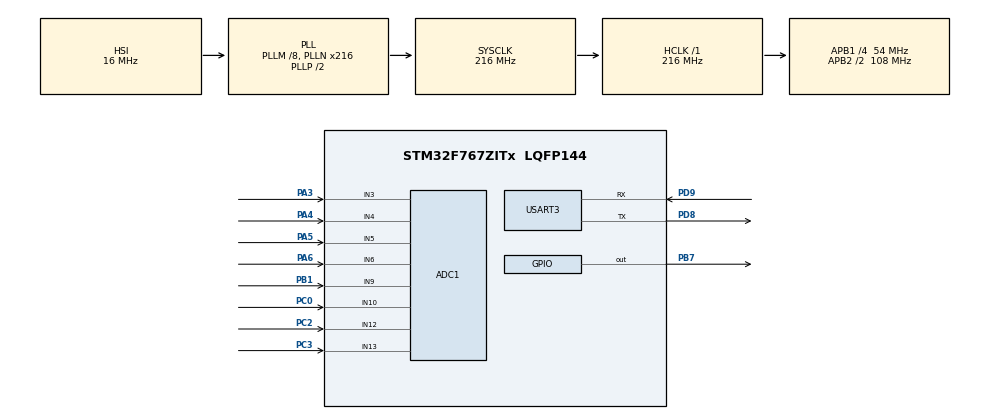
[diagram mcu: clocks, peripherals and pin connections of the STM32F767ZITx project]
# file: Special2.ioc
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ADC1.Channel-0\#ChannelRegularConversion=ADC_CHANNEL_3
ADC1.Channel-1\#ChannelRegularConversion=ADC_CHANNEL_4
ADC1.Channel-2\#ChannelRegularConversion=ADC_CHANNEL_5
ADC1.Channel-3\#ChannelRegularConversion=ADC_CHANNEL_6
ADC1.Channel-4\#ChannelRegularConversion=ADC_CHANNEL_9
ADC1.Channel-5\#ChannelRegularConversion=ADC_CHANNEL_10
ADC1.Channel-6\#ChannelRegularConversion=ADC_CHANNEL_12
ADC1.Channel-7\#ChannelRegularConversion=ADC_CHANNEL_13
ADC1.ClockPrescaler=ADC_CLOCK_SYNC_PCLK_DIV8
ADC1.ContinuousConvMode=ENABLE
ADC1.DMAContinuousRequests=ENABLE
ADC1.NbrOfConversion=8
ADC1.NbrOfConversionFlag=1
ADC1.Rank-0\#ChannelRegularConversion=1
ADC1.Rank-1\#ChannelRegularConversion=2
ADC1.Rank-2\#ChannelRegularConversion=3
ADC1.Rank-3\#ChannelRegularConversion=4
ADC1.Rank-4\#ChannelRegularConversion=5
ADC1.Rank-5\#ChannelRegularConversion=6
ADC1.Rank-6\#ChannelRegularConversion=7
ADC1.Rank-7\#ChannelRegularConversion=8
ADC1.SamplingTime-0\#ChannelRegularConversion=ADC_SAMPLETIME_15CYCLES
ADC1.SamplingTime-1\#ChannelRegularConversion=ADC_SAMPLETIME_15CYCLES
ADC1.SamplingTime-2\#ChannelRegularConversion=ADC_SAMPLETIME_15CYCLES
ADC1.SamplingTime-3\#ChannelRegularConversion=ADC_SAMPLETIME_15CYCLES
ADC1.SamplingTime-4\#ChannelRegularConversion=ADC_SAMPLETIME_15CYCLES
ADC1.SamplingTime-5\#ChannelRegularConversion=ADC_SAMPLETIME_15CYCLES
ADC1.SamplingTime-6\#ChannelRegularConversion=ADC_SAMPLETIME_15CYCLES
ADC1.SamplingTime-7\#ChannelRegularConversion=ADC_SAMPLETIME_15CYCLES
ADC1.ScanConvMode=ADC_SCAN_ENABLE
ADC1.master=1
CORTEX_M7.default_mode_Activation=1
Dma.ADC1.0.Direction=DMA_PERIPH_TO_MEMORY
Dma.ADC1.0.FIFOMode=DMA_FIFOMODE_DISABLE
Dma.ADC1.0.Instance=DMA2_Stream0
Dma.ADC1.0.MemDataAlignment=DMA_MDATAALIGN_WORD
Dma.ADC1.0.MemInc=DMA_MINC_ENABLE
Dma.ADC1.0.Mode=DMA_CIRCULAR
Dma.ADC1.0.PeriphDataAlignment=DMA_PDATAALIGN_WORD
Dma.ADC1.0.PeriphInc=DMA_PINC_DISABLE
Dma.ADC1.0.Priority=DMA_PRIORITY_LOW
Dma.Request0=ADC1
Mcu.Family=STM32F7
Mcu.Name=STM32F767ZITx
Mcu.Package=LQFP144
NVIC.DMA2_Stream0_IRQn=true\:1\:0\:true\:false\:true\:false\:true\:true
NVIC.PriorityGroup=NVIC_PRIORITYGROUP_4
PA3.Signal=ADCx_IN3
PA4.Signal=ADCx_IN4
PA5.Signal=ADCx_IN5
PA6.Signal=ADCx_IN6
PB1.Signal=ADCx_IN9
PB7.GPIO_Speed=GPIO_SPEED_FREQ_HIGH
PB7.Signal=GPIO_Output
PC0.Signal=ADCx_IN10
PC2.Signal=ADCx_IN12
PC3.Signal=ADCx_IN13
PD8.Mode=Asynchronous
PD8.Signal=USART3_TX
PD9.Mode=Asynchronous
PD9.Signal=USART3_RX
ProjectManager.HeapSize=0x200
ProjectManager.StackSize=0x400
ProjectManager.TargetToolchain=STM32CubeIDE
RCC.AHBFreq_Value=216000000
RCC.APB1CLKDivider=RCC_HCLK_DIV4
RCC.APB1Freq_Value=54000000
RCC.APB1TimFreq_Value=108000000
RCC.APB2CLKDivider=RCC_HCLK_DIV2
RCC.APB2Freq_Value=108000000
RCC.APB2TimFreq_Value=216000000
RCC.CortexFreq_Value=216000000
RCC.HCLKFreq_Value=216000000
RCC.HSE_VALUE=25000000
RCC.HSI_VALUE=16000000
RCC.LSE_VALUE=32768
RCC.PLLM=8
RCC.PLLN=216
RCC.SYSCLKFreq_VALUE=216000000
RCC.SYSCLKSource=RCC_SYSCLKSOURCE_PLLCLK
RCC.USBFreq_Value=216000000
RCC.VCOOutputFreq_Value=432000000
SH.ADCx_IN10.0=ADC1_IN10,IN10
SH.ADCx_IN12.0=ADC1_IN12,IN12
SH.ADCx_IN13.0=ADC1_IN13,IN13
SH.ADCx_IN3.0=ADC1_IN3,IN3
SH.ADCx_IN4.0=ADC1_IN4,IN4
SH.ADCx_IN5.0=ADC1_IN5,IN5
SH.ADCx_IN6.0=ADC1_IN6,IN6
SH.ADCx_IN9.0=ADC1_IN9,IN9
USART3.VirtualMode-Asynchronous=VM_ASYNC
board=custom

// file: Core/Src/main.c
/* USER CODE BEGIN Header */
/**
  ******************************************************************************
  * @file           : main.c
  * @brief          : Main program body
  ******************************************************************************
  * @attention
  *
  * Copyright (c) 2024 STMicroelectronics.
  * All rights reserved.
  *
  * This software is licensed under terms that can be found in the LICENSE file
  * in the root directory of this software component.
  * If no LICENSE file comes with this software, it is provided AS-IS.
  *
  ******************************************************************************
  */
/* USER CODE END Header */
#include "main.h"

/* USER CODE BEGIN Includes */
#include <string.h>
#include <stdbool.h>
#include <stdlib.h>
#include <stdio.h>
/* USER CODE END Includes */

ADC_HandleTypeDef hadc1;
DMA_HandleTypeDef hdma_adc1;

UART_HandleTypeDef huart3;

/* USER CODE BEGIN PV */
uint32_t adc_val[8];
char buffer[160];
bool s = false;
/* USER CODE END PV */

void SystemClock_Config(void);
static void MPU_Config(void);
static void MX_GPIO_Init(void);
static void MX_DMA_Init(void);
static void MX_ADC1_Init(void);
static void MX_USART3_UART_Init(void);

int main(void)
{

  /* MPU Configuration--------------------------------------------------------*/
  MPU_Config();

  /* MCU Configuration--------------------------------------------------------*/

  /* Reset of all peripherals, Initializes the Flash interface and the Systick. */
  HAL_Init();

  /* Configure the system clock */
  SystemClock_Config();

  /* Initialize all configured peripherals */
  MX_GPIO_Init();
  MX_DMA_Init();
  MX_ADC1_Init();
  MX_USART3_UART_Init();
  /* USER CODE BEGIN 2 */
  HAL_ADC_Start_DMA(&hadc1, adc_val, 8);
  /* USER CODE END 2 */

  /* Infinite loop */
  while (1)
  {

    /* USER CODE BEGIN 3 */
	sprintf(buffer, "\r\nVR_1_1 : %u VR_1_2 : %u VR_1_3 : %u VR_1_4 : %u \r\nVR_2_1 : %u VR_2_2 : %u VR_2_3 : %u VR_2_4 : %u \r\n---------------------------\r\n", adc_val[0], adc_val[1], adc_val[2], adc_val[3], adc_val[4], adc_val[5], adc_val[6], adc_val[7]);
	while (__HAL_UART_GET_FLAG(&huart3, UART_FLAG_TC) == RESET) {}
	HAL_UART_Transmit(&huart3, (uint8_t *)buffer, strlen(buffer), HAL_MAX_DELAY);
	HAL_Delay(2000);
  }
  /* USER CODE END 3 */
}

void SystemClock_Config(void)
{
  RCC_OscInitTypeDef RCC_OscInitStruct = {0};
  RCC_ClkInitTypeDef RCC_ClkInitStruct = {0};

  /** Configure the main internal regulator output voltage
  */
  __HAL_RCC_PWR_CLK_ENABLE();
  __HAL_PWR_VOLTAGESCALING_CONFIG(PWR_REGULATOR_VOLTAGE_SCALE1);

  /** Initializes the RCC Oscillators according to the specified parameters
  * in the RCC_OscInitTypeDef structure.
  */
  RCC_OscInitStruct.OscillatorType = RCC_OSCILLATORTYPE_HSI;
  RCC_OscInitStruct.HSIState = RCC_HSI_ON;
  RCC_OscInitStruct.HSICalibrationValue = RCC_HSICALIBRATION_DEFAULT;
  RCC_OscInitStruct.PLL.PLLState = RCC_PLL_ON;
  RCC_OscInitStruct.PLL.PLLSource = RCC_PLLSOURCE_HSI;
  RCC_OscInitStruct.PLL.PLLM = 8;
  RCC_OscInitStruct.PLL.PLLN = 216;
  RCC_OscInitStruct.PLL.PLLP = RCC_PLLP_DIV2;
  RCC_OscInitStruct.PLL.PLLQ = 2;
  RCC_OscInitStruct.PLL.PLLR = 2;
  if (HAL_RCC_OscConfig(&RCC_OscInitStruct) != HAL_OK)
  {
    Error_Handler();
  }

  /** Activate the Over-Drive mode
  */
  if (HAL_PWREx_EnableOverDrive() != HAL_OK)
  {
    Error_Handler();
  }

  /** Initializes the CPU, AHB and APB buses clocks
  */
  RCC_ClkInitStruct.ClockType = RCC_CLOCKTYPE_HCLK|RCC_CLOCKTYPE_SYSCLK
                              |RCC_CLOCKTYPE_PCLK1|RCC_CLOCKTYPE_PCLK2;
  RCC_ClkInitStruct.SYSCLKSource = RCC_SYSCLKSOURCE_PLLCLK;
  RCC_ClkInitStruct.AHBCLKDivider = RCC_SYSCLK_DIV1;
  RCC_ClkInitStruct.APB1CLKDivider = RCC_HCLK_DIV4;
  RCC_ClkInitStruct.APB2CLKDivider = RCC_HCLK_DIV2;

  if (HAL_RCC_ClockConfig(&RCC_ClkInitStruct, FLASH_LATENCY_7) != HAL_OK)
  {
    Error_Handler();
  }
}

static void MX_ADC1_Init(void)
{

  ADC_ChannelConfTypeDef sConfig = {0};

  /** Configure the global features of the ADC (Clock, Resolution, Data Alignment and number of conversion)
  */
  hadc1.Instance = ADC1;
  hadc1.Init.ClockPrescaler = ADC_CLOCK_SYNC_PCLK_DIV8;
  hadc1.Init.Resolution = ADC_RESOLUTION_12B;
  hadc1.Init.ScanConvMode = ADC_SCAN_ENABLE;
  hadc1.Init.ContinuousConvMode = ENABLE;
  hadc1.Init.DiscontinuousConvMode = DISABLE;
  hadc1.Init.ExternalTrigConvEdge = ADC_EXTERNALTRIGCONVEDGE_NONE;
  hadc1.Init.ExternalTrigConv = ADC_SOFTWARE_START;
  hadc1.Init.DataAlign = ADC_DATAALIGN_RIGHT;
  hadc1.Init.NbrOfConversion = 8;
  hadc1.Init.DMAContinuousRequests = ENABLE;
  hadc1.Init.EOCSelection = ADC_EOC_SINGLE_CONV;
  if (HAL_ADC_Init(&hadc1) != HAL_OK)
  {
    Error_Handler();
  }

  /** Configure for the selected ADC regular channel its corresponding rank in the sequencer and its sample time.
  */
  sConfig.Channel = ADC_CHANNEL_3;
  sConfig.Rank = ADC_REGULAR_RANK_1;
  sConfig.SamplingTime = ADC_SAMPLETIME_15CYCLES;
  if (HAL_ADC_ConfigChannel(&hadc1, &sConfig) != HAL_OK)
  {
    Error_Handler();
  }

  /** Configure for the selected ADC regular channel its corresponding rank in the sequencer and its sample time.
  */
  sConfig.Channel = ADC_CHANNEL_4;
  sConfig.Rank = ADC_REGULAR_RANK_2;
  if (HAL_ADC_ConfigChannel(&hadc1, &sConfig) != HAL_OK)
  {
    Error_Handler();
  }

  /** Configure for the selected ADC regular channel its corresponding rank in the sequencer and its sample time.
  */
  sConfig.Channel = ADC_CHANNEL_5;
  sConfig.Rank = ADC_REGULAR_RANK_3;
  if (HAL_ADC_ConfigChannel(&hadc1, &sConfig) != HAL_OK)
  {
    Error_Handler();
  }

  /** Configure for the selected ADC regular channel its corresponding rank in the sequencer and its sample time.
  */
  sConfig.Channel = ADC_CHANNEL_6;
  sConfig.Rank = ADC_REGULAR_RANK_4;
  if (HAL_ADC_ConfigChannel(&hadc1, &sConfig) != HAL_OK)
  {
    Error_Handler();
  }

  /** Configure for the selected ADC regular channel its corresponding rank in the sequencer and its sample time.
  */
  sConfig.Channel = ADC_CHANNEL_9;
  sConfig.Rank = ADC_REGULAR_RANK_5;
  if (HAL_ADC_ConfigChannel(&hadc1, &sConfig) != HAL_OK)
  {
    Error_Handler();
  }

  /** Configure for the selected ADC regular channel its corresponding rank in the sequencer and its sample time.
  */
  sConfig.Channel = ADC_CHANNEL_10;
  sConfig.Rank = ADC_REGULAR_RANK_6;
  if (HAL_ADC_ConfigChannel(&hadc1, &sConfig) != HAL_OK)
  {
    Error_Handler();
  }

  /** Configure for the selected ADC regular channel its corresponding rank in the sequencer and its sample time.
  */
  sConfig.Channel = ADC_CHANNEL_12;
  sConfig.Rank = ADC_REGULAR_RANK_7;
  if (HAL_ADC_ConfigChannel(&hadc1, &sConfig) != HAL_OK)
  {
    Error_Handler();
  }

  /** Configure for the selected ADC regular channel its corresponding rank in the sequencer and its sample time.
  */
  sConfig.Channel = ADC_CHANNEL_13;
  sConfig.Rank = ADC_REGULAR_RANK_8;
  if (HAL_ADC_ConfigChannel(&hadc1, &sConfig) != HAL_OK)
  {
    Error_Handler();
  }

}

static void MX_USART3_UART_Init(void)
{

  huart3.Instance = USART3;
  huart3.Init.BaudRate = 115200;
  huart3.Init.WordLength = UART_WORDLENGTH_8B;
  huart3.Init.StopBits = UART_STOPBITS_1;
  huart3.Init.Parity = UART_PARITY_NONE;
  huart3.Init.Mode = UART_MODE_TX_RX;
  huart3.Init.HwFlowCtl = UART_HWCONTROL_NONE;
  huart3.Init.OverSampling = UART_OVERSAMPLING_16;
  huart3.Init.OneBitSampling = UART_ONE_BIT_SAMPLE_DISABLE;
  huart3.AdvancedInit.AdvFeatureInit = UART_ADVFEATURE_NO_INIT;
  if (HAL_UART_Init(&huart3) != HAL_OK)
  {
    Error_Handler();
  }

}

static void MX_DMA_Init(void)
{

  /* DMA controller clock enable */
  __HAL_RCC_DMA2_CLK_ENABLE();

  /* DMA interrupt init */
  /* DMA2_Stream0_IRQn interrupt configuration */
  HAL_NVIC_SetPriority(DMA2_Stream0_IRQn, 1, 0);
  HAL_NVIC_EnableIRQ(DMA2_Stream0_IRQn);

}

static void MX_GPIO_Init(void)
{
  GPIO_InitTypeDef GPIO_InitStruct = {0};

  /* GPIO Ports Clock Enable */
  __HAL_RCC_GPIOC_CLK_ENABLE();
  __HAL_RCC_GPIOA_CLK_ENABLE();
  __HAL_RCC_GPIOB_CLK_ENABLE();
  __HAL_RCC_GPIOD_CLK_ENABLE();

  /*Configure GPIO pin Output Level */
  HAL_GPIO_WritePin(GPIOB, GPIO_PIN_7, GPIO_PIN_RESET);

  /*Configure GPIO pin : PB7 */
  GPIO_InitStruct.Pin = GPIO_PIN_7;
  GPIO_InitStruct.Mode = GPIO_MODE_OUTPUT_PP;
  GPIO_InitStruct.Pull = GPIO_NOPULL;
  GPIO_InitStruct.Speed = GPIO_SPEED_FREQ_HIGH;
  HAL_GPIO_Init(GPIOB, &GPIO_InitStruct);

}

/* USER CODE BEGIN 4 */
void HAL_ADC_ConvCpltCallback(ADC_HandleTypeDef* hadc) {
	HAL_GPIO_WritePin(GPIOB, GPIO_PIN_7, 0);
//	while (__HAL_UART_GET_FLAG(&huart3, UART_FLAG_TC) == RESET) {}
//	HAL_UART_Transmit(&huart3, (uint8_t *)"-", 1, HAL_MAX_DELAY);
	s = false;
}

void HAL_ADC_ConvHalfCpltCallback(ADC_HandleTypeDef* hadc) {
	HAL_GPIO_WritePin(GPIOB, GPIO_PIN_7, 1);
//	while (__HAL_UART_GET_FLAG(&huart3, UART_FLAG_TC) == RESET) {}
//	HAL_UART_Transmit(&huart3, (uint8_t *)"|", 1, HAL_MAX_DELAY);
	s = true;
}
/* USER CODE END 4 */

 /* MPU Configuration */

void MPU_Config(void)
{
  MPU_Region_InitTypeDef MPU_InitStruct = {0};

  /* Disables the MPU */
  HAL_MPU_Disable();

  /** Initializes and configures the Region and the memory to be protected
  */
  MPU_InitStruct.Enable = MPU_REGION_ENABLE;
  MPU_InitStruct.Number = MPU_REGION_NUMBER0;
  MPU_InitStruct.BaseAddress = 0x0;
  MPU_InitStruct.Size = MPU_REGION_SIZE_4GB;
  MPU_InitStruct.SubRegionDisable = 0x87;
  MPU_InitStruct.TypeExtField = MPU_TEX_LEVEL0;
  MPU_InitStruct.AccessPermission = MPU_REGION_NO_ACCESS;
  MPU_InitStruct.DisableExec = MPU_INSTRUCTION_ACCESS_DISABLE;
  MPU_InitStruct.IsShareable = MPU_ACCESS_SHAREABLE;
  MPU_InitStruct.IsCacheable = MPU_ACCESS_NOT_CACHEABLE;
  MPU_InitStruct.IsBufferable = MPU_ACCESS_NOT_BUFFERABLE;

  HAL_MPU_ConfigRegion(&MPU_InitStruct);
  /* Enables the MPU */
  HAL_MPU_Enable(MPU_PRIVILEGED_DEFAULT);

}

void Error_Handler(void)
{
  __disable_irq();
  while (1)
  {
  }
}
